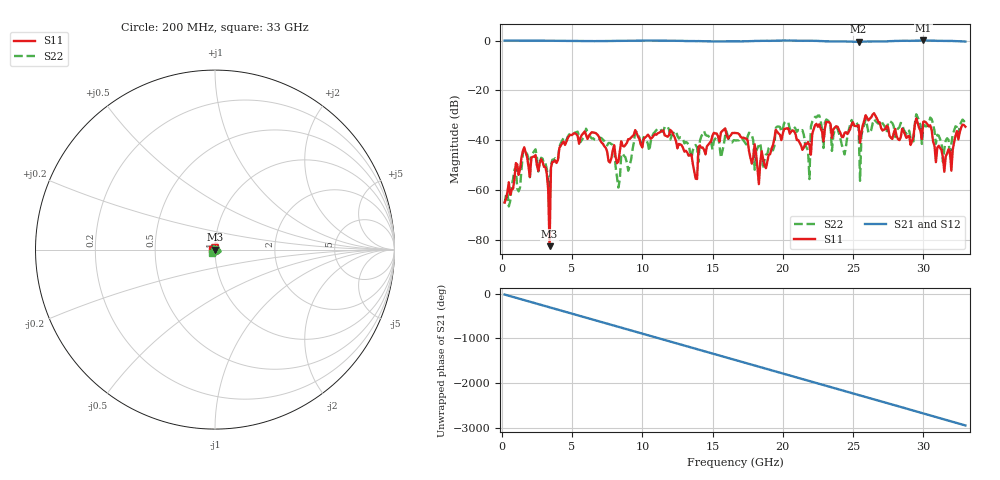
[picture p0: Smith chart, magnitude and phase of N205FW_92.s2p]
# GHZ S RI R 50
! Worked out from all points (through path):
!   329 points, 200 MHz to 33 GHz, reference 50 ohm
!   highest |S21| = 0.04 dB at 30 GHz (marker M1); lowest = -0.5 dB at 25.4 GHz (marker M2)
!   group delay of S21, straight-line fit = 248 ps
!   lowest |S11| = -82.5 dB at 3.4 GHz (marker M3), VSWR 1.00, Z = 50 + j0.00594 ohm
!   |S11| at or under -10 dB: start of sweep to end of sweep
!   |S22| runs from -66.5 to -29.5 dB; largest |S21 - S12| = 0.0022
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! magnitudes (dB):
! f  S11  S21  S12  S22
! 200 MHz  -64.9  0.0  0.0  -65.4
! 2.8 GHz  -47.6  0.0  0.0  -47.0
! 3.2 GHz  -53.4  -0.1  -0.1  -51.4
! 3.4 GHz  -82.5  -0.1  -0.1  -62.1
! 3.6 GHz  -48.7  -0.1  -0.1  -47.8
! 5.7 GHz  -37.8  -0.2  -0.2  -39.9
! 8.3 GHz  -48.6  -0.1  -0.1  -59.0
! 11.2 GHz  -37.0  0.0  0.0  -35.3
! 13.9 GHz  -55.5  -0.2  -0.2  -42.9
! 16.6 GHz  -37.0  -0.3  -0.3  -40.1
! 18.3 GHz  -57.6  -0.1  -0.1  -42.0
! 19.5 GHz  -35.8  -0.1  -0.1  -35.1
! 21.4 GHz  -43.8  -0.1  -0.1  -35.9
! 21.9 GHz  -41.9  -0.1  -0.1  -55.6
! 22.1 GHz  -37.4  -0.1  -0.1  -32.5
! 25.4 GHz  -33.9  -0.5  -0.5  -35.3
! 25.5 GHz  -41.0  -0.5  -0.5  -56.3
! 25.9 GHz  -30.0  -0.4  -0.4  -31.6
! 27.6 GHz  -38.2  -0.2  -0.2  -32.3
! 30 GHz  -32.6  0.0  0.0  -34.4
! 31.5 GHz  -52.6  -0.1  -0.1  -43.6
! 33 GHz  -34.6  -0.4  -0.4  -31.7
